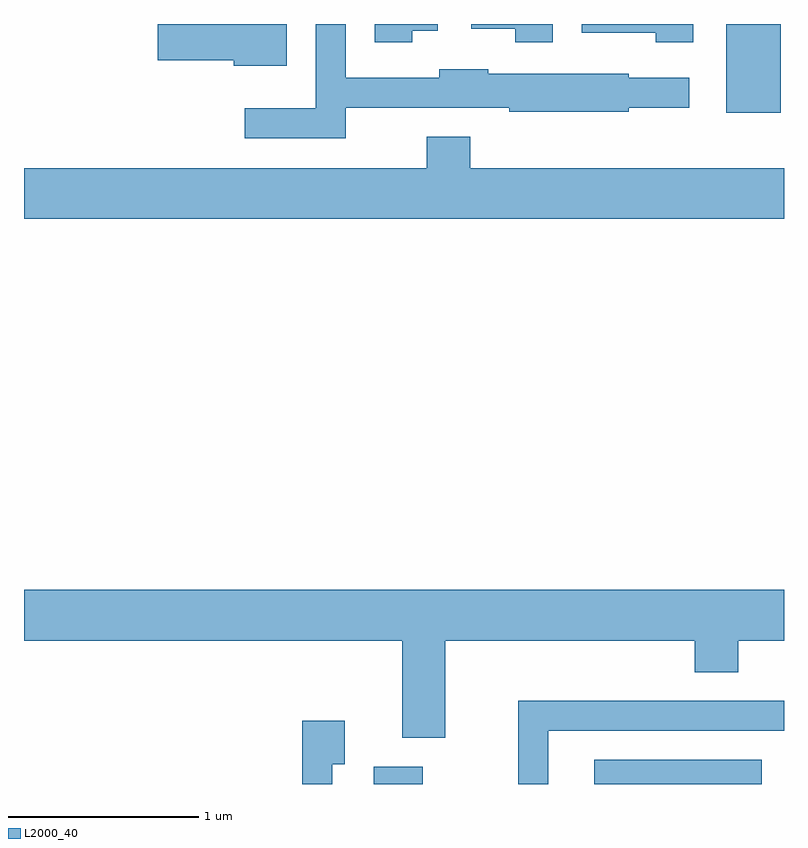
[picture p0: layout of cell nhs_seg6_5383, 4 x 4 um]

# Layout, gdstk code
import gdstk
lib = gdstk.Library(unit=1e-6, precision=1e-09)
def R(c, l, rs):  # rectangles x0, y0, x1, y1
    for r in rs: c.add(gdstk.rectangle(r[:2], r[2:], *l))
def P(c, l, *ps):  # polygons
    for p in ps: c.add(gdstk.Polygon(p, *l))
L2000_40 = (2000, 40)

nhs_seg6_5383 = lib.new_cell('nhs_seg6_5383')
R(nhs_seg6_5383, L2000_40, [(351.451,1558.162,351.709,1558.254), (352.613,1558.162,353.494,1558.289), (353.306,1561.696,353.594,1562.162)])
P(nhs_seg6_5383, L2000_40, [(350.994,1562.162),(350.316,1562.162),(350.316,1561.971),(350.716,1561.971),(350.716,1561.941),(350.994,1561.941)],
  [(352.394,1562.162),(351.966,1562.162),(351.966,1562.136),(352.196,1562.136),(352.196,1562.066),(352.394,1562.066)],
  [(351.654,1562.126),(351.789,1562.126),(351.789,1562.162),(351.456,1562.162),(351.456,1562.066),(351.654,1562.066)],
  [(353.134,1562.162),(352.546,1562.162),(352.546,1562.116),(352.936,1562.116),(352.936,1562.066),(353.134,1562.066)],
  [(351.304,1561.721),(352.166,1561.721),(352.166,1561.701),(352.794,1561.701),(352.794,1561.721),(353.113,1561.721),(353.113,1561.879),(352.794,1561.879),(352.794,1561.899),(352.054,1561.899),(352.054,1561.924),(351.796,1561.924),(351.796,1561.879),(351.304,1561.879),(351.304,1562.162),(351.146,1562.162),(351.146,1561.719),(350.773,1561.719),(350.773,1561.561),(351.304,1561.561)],
  [(353.611,1561.404),(351.959,1561.404),(351.959,1561.569),(351.731,1561.569),(351.731,1561.404),(349.611,1561.404),(349.611,1561.136),(353.611,1561.136)],
  [(351.829,1558.916),(353.141,1558.916),(353.141,1558.751),(353.369,1558.751),(353.369,1558.916),(353.611,1558.916),(353.611,1559.184),(349.611,1559.184),(349.611,1558.916),(351.601,1558.916),(351.601,1558.406),(351.829,1558.406)],
  [(352.369,1558.441),(353.611,1558.441),(353.611,1558.599),(352.211,1558.599),(352.211,1558.162),(352.369,1558.162)],
  [(351.234,1558.266),(351.299,1558.266),(351.299,1558.494),(351.076,1558.494),(351.076,1558.162),(351.234,1558.162)])

lib.write_gds('nhs_seg6_5383.gds')
